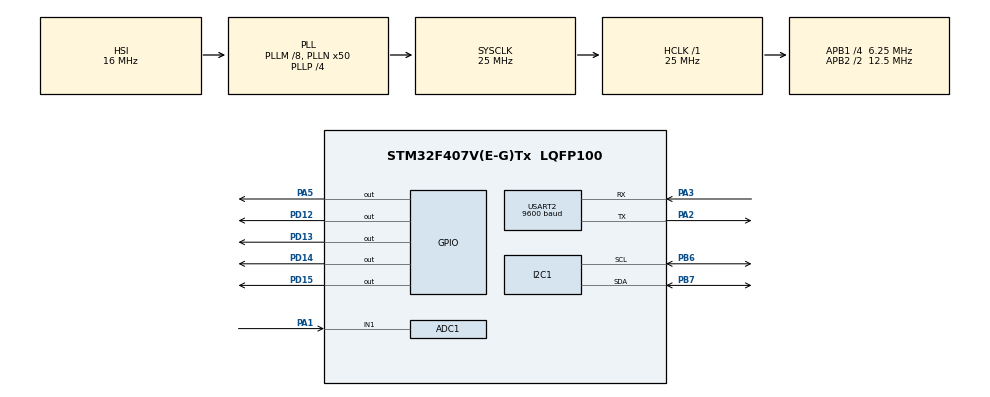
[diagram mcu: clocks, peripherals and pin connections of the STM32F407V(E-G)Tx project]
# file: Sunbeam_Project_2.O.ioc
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ADC1.Channel-0\#ChannelRegularConversion=ADC_CHANNEL_1
ADC1.NbrOfConversionFlag=1
ADC1.Rank-0\#ChannelRegularConversion=1
ADC1.SamplingTime-0\#ChannelRegularConversion=ADC_SAMPLETIME_3CYCLES
ADC1.master=1
Mcu.Family=STM32F4
Mcu.Name=STM32F407V(E-G)Tx
Mcu.Package=LQFP100
NVIC.PriorityGroup=NVIC_PRIORITYGROUP_0
PA1.Signal=ADCx_IN1
PA2.Mode=Asynchronous
PA2.Signal=USART2_TX
PA3.Mode=Asynchronous
PA3.Signal=USART2_RX
PA5.Signal=GPIO_Output
PB6.Mode=I2C
PB6.Signal=I2C1_SCL
PB7.Mode=I2C
PB7.Signal=I2C1_SDA
PD12.Signal=GPIO_Output
PD13.Signal=GPIO_Output
PD14.Signal=GPIO_Output
PD15.Signal=GPIO_Output
PH0-OSC_IN.Mode=HSE-External-Oscillator
PH0-OSC_IN.Signal=RCC_OSC_IN
PH1-OSC_OUT.Mode=HSE-External-Oscillator
PH1-OSC_OUT.Signal=RCC_OSC_OUT
ProjectManager.HeapSize=0x200
ProjectManager.StackSize=0x400
ProjectManager.TargetToolchain=STM32CubeIDE
RCC.48MHZClocksFreq_Value=14285714.285714285
RCC.AHBFreq_Value=25000000
RCC.APB1CLKDivider=RCC_HCLK_DIV4
RCC.APB1Freq_Value=6250000
RCC.APB1TimFreq_Value=12500000
RCC.APB2CLKDivider=RCC_HCLK_DIV2
RCC.APB2Freq_Value=12500000
RCC.APB2TimFreq_Value=25000000
RCC.CortexFreq_Value=25000000
RCC.HCLKFreq_Value=25000000
RCC.HSE_VALUE=8000000
RCC.HSI_VALUE=16000000
RCC.LSE_VALUE=32768
RCC.PLLM=8
RCC.PLLN=50
RCC.PLLP=RCC_PLLP_DIV4
RCC.PLLQ=7
RCC.SYSCLKFreq_VALUE=25000000
RCC.SYSCLKSource=RCC_SYSCLKSOURCE_PLLCLK
RCC.VCOOutputFreq_Value=100000000
SH.ADCx_IN1.0=ADC1_IN1,IN1
USART2.BaudRate=9600
USART2.VirtualMode=VM_ASYNC
board=STM32F407G-DISC1

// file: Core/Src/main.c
/* USER CODE BEGIN Header */
/**
  ******************************************************************************
  * @file           : main.c
  * @brief          : Main program body
  ******************************************************************************
  * @attention
  *
  * Copyright (c) 2025 STMicroelectronics.
  * All rights reserved.
  *
  * This software is licensed under terms that can be found in the LICENSE file
  * in the root directory of this software component.
  * If no LICENSE file comes with this software, it is provided AS-IS.
  *
  ******************************************************************************
  */
/* USER CODE END Header */
#include "main.h"

/* USER CODE BEGIN Includes */

#include<string.h>
#include<stdio.h>
#include "my_lcd.h"
#include "mq2.h"
#include "dht11.h"

/* USER CODE END Includes */

ADC_HandleTypeDef hadc1;

I2C_HandleTypeDef hi2c1;

UART_HandleTypeDef huart2;

void SystemClock_Config(void);
static void MX_GPIO_Init(void);
static void MX_ADC1_Init(void);
static void MX_I2C1_Init(void);
static void MX_USART2_UART_Init(void);
/* USER CODE BEGIN PFP */
static int DWT_Delay_Init(void);
/* USER CODE END PFP */

/* USER CODE BEGIN 0 */
static int DWT_Delay_Init(void)
{
    /* Disable TRC */
    CoreDebug->DEMCR &= ~CoreDebug_DEMCR_TRCENA_Msk;
    /* Enable TRC */
    CoreDebug->DEMCR |=  CoreDebug_DEMCR_TRCENA_Msk;
    /* Disable clock cycle counter */
    DWT->CTRL &= ~DWT_CTRL_CYCCNTENA_Msk;
    /* Enable  clock cycle counter */
    DWT->CTRL |=  DWT_CTRL_CYCCNTENA_Msk;
    /* Reset the clock cycle counter value */
    DWT->CYCCNT = 0;
    /* 3 NO OPERATION instructions */
    __ASM volatile ("NOP");
    __ASM volatile ("NOP");
    __ASM volatile ("NOP");
    /* Check if clock cycle counter has started: 0 on success */
    return !(DWT->CYCCNT);
}
/* USER CODE END 0 */

int main(void)
{

  /* MCU Configuration--------------------------------------------------------*/

  /* Reset of all peripherals, Initializes the Flash interface and the Systick. */
  HAL_Init();

  /* USER CODE BEGIN Init */
  //DHT11_Init();
  DHT11_Init();
  DWT_Delay_Init();

  /* USER CODE END Init */

  /* Configure the system clock */
  SystemClock_Config();

  /* Initialize all configured peripherals */
  MX_GPIO_Init();
  MX_ADC1_Init();
  MX_I2C1_Init();
  MX_USART2_UART_Init();
  /* USER CODE BEGIN 2 */

  // Initialize DWT for microsecond delay (required for DHT11)

  if (!lcd16x2_i2c_init(&hi2c1))
    {
        while(1);
    }

    char str[20];
    char str2[50];
    uint32_t val;
    uint32_t air_value;

    uint8_t temperature = 0;
    uint8_t humidity = 0;

    lcd16x2_i2c_clear();
 //   HAL_Delay(500);

  /* USER CODE END 2 */

  /* Infinite loop */
  while (1)
  {

    /* USER CODE BEGIN 3 */
	  //lcd16x2_i2c_clear();

	  HAL_ADC_Start(&hadc1);
	  HAL_ADC_PollForConversion(&hadc1, HAL_MAX_DELAY);
	  val = HAL_ADC_GetValue(&hadc1);
	  HAL_ADC_Stop(&hadc1);

	  air_value = mq2_value(val);

	  lcd16x2_i2c_setCursor(0, 12);
	  sprintf(str, "%lu", air_value);
	  lcd16x2_i2c_printf(str);

	  if (DHT11_Read(&temperature, &humidity) == 0)
	  {
		  lcd16x2_i2c_setCursor(1, 0);
		  sprintf(str2, "T:%dC H:%d%%", temperature, humidity);
		  lcd16x2_i2c_printf(str2);
	  }

	  HAL_Delay(2000);

  }
  /* USER CODE END 3 */
}

void SystemClock_Config(void)
{
  RCC_OscInitTypeDef RCC_OscInitStruct = {0};
  RCC_ClkInitTypeDef RCC_ClkInitStruct = {0};

  /** Configure the main internal regulator output voltage
  */
  __HAL_RCC_PWR_CLK_ENABLE();
  __HAL_PWR_VOLTAGESCALING_CONFIG(PWR_REGULATOR_VOLTAGE_SCALE1);

  /** Initializes the RCC Oscillators according to the specified parameters
  * in the RCC_OscInitTypeDef structure.
  */
  RCC_OscInitStruct.OscillatorType = RCC_OSCILLATORTYPE_HSI;
  RCC_OscInitStruct.HSIState = RCC_HSI_ON;
  RCC_OscInitStruct.HSICalibrationValue = RCC_HSICALIBRATION_DEFAULT;
  RCC_OscInitStruct.PLL.PLLState = RCC_PLL_ON;
  RCC_OscInitStruct.PLL.PLLSource = RCC_PLLSOURCE_HSI;
  RCC_OscInitStruct.PLL.PLLM = 8;
  RCC_OscInitStruct.PLL.PLLN = 50;
  RCC_OscInitStruct.PLL.PLLP = RCC_PLLP_DIV4;
  RCC_OscInitStruct.PLL.PLLQ = 7;
  if (HAL_RCC_OscConfig(&RCC_OscInitStruct) != HAL_OK)
  {
    Error_Handler();
  }

  /** Initializes the CPU, AHB and APB buses clocks
  */
  RCC_ClkInitStruct.ClockType = RCC_CLOCKTYPE_HCLK|RCC_CLOCKTYPE_SYSCLK
                              |RCC_CLOCKTYPE_PCLK1|RCC_CLOCKTYPE_PCLK2;
  RCC_ClkInitStruct.SYSCLKSource = RCC_SYSCLKSOURCE_PLLCLK;
  RCC_ClkInitStruct.AHBCLKDivider = RCC_SYSCLK_DIV1;
  RCC_ClkInitStruct.APB1CLKDivider = RCC_HCLK_DIV4;
  RCC_ClkInitStruct.APB2CLKDivider = RCC_HCLK_DIV2;

  if (HAL_RCC_ClockConfig(&RCC_ClkInitStruct, FLASH_LATENCY_0) != HAL_OK)
  {
    Error_Handler();
  }
}

static void MX_ADC1_Init(void)
{

  ADC_ChannelConfTypeDef sConfig = {0};

  /** Configure the global features of the ADC (Clock, Resolution, Data Alignment and number of conversion)
  */
  hadc1.Instance = ADC1;
  hadc1.Init.ClockPrescaler = ADC_CLOCK_SYNC_PCLK_DIV2;
  hadc1.Init.Resolution = ADC_RESOLUTION_12B;
  hadc1.Init.ScanConvMode = DISABLE;
  hadc1.Init.ContinuousConvMode = DISABLE;
  hadc1.Init.DiscontinuousConvMode = DISABLE;
  hadc1.Init.ExternalTrigConvEdge = ADC_EXTERNALTRIGCONVEDGE_NONE;
  hadc1.Init.ExternalTrigConv = ADC_SOFTWARE_START;
  hadc1.Init.DataAlign = ADC_DATAALIGN_RIGHT;
  hadc1.Init.NbrOfConversion = 1;
  hadc1.Init.DMAContinuousRequests = DISABLE;
  hadc1.Init.EOCSelection = ADC_EOC_SINGLE_CONV;
  if (HAL_ADC_Init(&hadc1) != HAL_OK)
  {
    Error_Handler();
  }

  /** Configure for the selected ADC regular channel its corresponding rank in the sequencer and its sample time.
  */
  sConfig.Channel = ADC_CHANNEL_1;
  sConfig.Rank = 1;
  sConfig.SamplingTime = ADC_SAMPLETIME_3CYCLES;
  if (HAL_ADC_ConfigChannel(&hadc1, &sConfig) != HAL_OK)
  {
    Error_Handler();
  }

}

static void MX_I2C1_Init(void)
{

  hi2c1.Instance = I2C1;
  hi2c1.Init.ClockSpeed = 100000;
  hi2c1.Init.DutyCycle = I2C_DUTYCYCLE_2;
  hi2c1.Init.OwnAddress1 = 0;
  hi2c1.Init.AddressingMode = I2C_ADDRESSINGMODE_7BIT;
  hi2c1.Init.DualAddressMode = I2C_DUALADDRESS_DISABLE;
  hi2c1.Init.OwnAddress2 = 0;
  hi2c1.Init.GeneralCallMode = I2C_GENERALCALL_DISABLE;
  hi2c1.Init.NoStretchMode = I2C_NOSTRETCH_DISABLE;
  if (HAL_I2C_Init(&hi2c1) != HAL_OK)
  {
    Error_Handler();
  }

}

static void MX_USART2_UART_Init(void)
{

  huart2.Instance = USART2;
  huart2.Init.BaudRate = 9600;
  huart2.Init.WordLength = UART_WORDLENGTH_8B;
  huart2.Init.StopBits = UART_STOPBITS_1;
  huart2.Init.Parity = UART_PARITY_NONE;
  huart2.Init.Mode = UART_MODE_TX_RX;
  huart2.Init.HwFlowCtl = UART_HWCONTROL_NONE;
  huart2.Init.OverSampling = UART_OVERSAMPLING_16;
  if (HAL_UART_Init(&huart2) != HAL_OK)
  {
    Error_Handler();
  }

}

static void MX_GPIO_Init(void)
{
  GPIO_InitTypeDef GPIO_InitStruct = {0};

  /* GPIO Ports Clock Enable */
  __HAL_RCC_GPIOH_CLK_ENABLE();
  __HAL_RCC_GPIOA_CLK_ENABLE();
  __HAL_RCC_GPIOD_CLK_ENABLE();
  __HAL_RCC_GPIOB_CLK_ENABLE();

  /*Configure GPIO pin Output Level */
  HAL_GPIO_WritePin(GPIOA, GPIO_PIN_5, GPIO_PIN_RESET);

  /*Configure GPIO pin Output Level */
  HAL_GPIO_WritePin(GPIOD, GPIO_PIN_12|GPIO_PIN_13|GPIO_PIN_14|GPIO_PIN_15, GPIO_PIN_RESET);

  /*Configure GPIO pin : PA5 */
  GPIO_InitStruct.Pin = GPIO_PIN_5;
  GPIO_InitStruct.Mode = GPIO_MODE_OUTPUT_PP;
  GPIO_InitStruct.Pull = GPIO_NOPULL;
  GPIO_InitStruct.Speed = GPIO_SPEED_FREQ_LOW;
  HAL_GPIO_Init(GPIOA, &GPIO_InitStruct);

  /*Configure GPIO pins : PD12 PD13 PD14 PD15 */
  GPIO_InitStruct.Pin = GPIO_PIN_12|GPIO_PIN_13|GPIO_PIN_14|GPIO_PIN_15;
  GPIO_InitStruct.Mode = GPIO_MODE_OUTPUT_PP;
  GPIO_InitStruct.Pull = GPIO_NOPULL;
  GPIO_InitStruct.Speed = GPIO_SPEED_FREQ_LOW;
  HAL_GPIO_Init(GPIOD, &GPIO_InitStruct);

}

void Error_Handler(void)
{
  __disable_irq();
  while (1)
  {
  }
}
